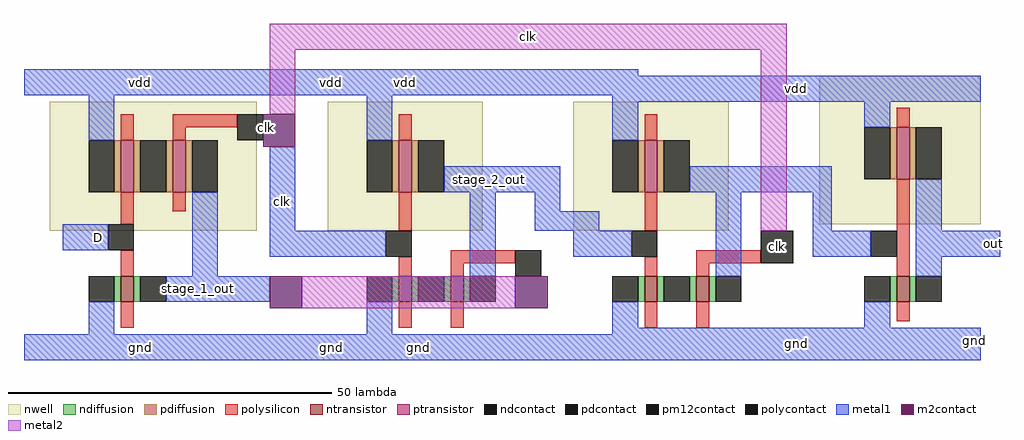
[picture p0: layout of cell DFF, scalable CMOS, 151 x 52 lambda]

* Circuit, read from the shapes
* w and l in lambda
.subckt DFF D clk gnd out stage_1_out stage_2_out vdd
M1 stage_1_out D gnd VSUBS nfet w=4 l=2
M2 n1 clk gnd VSUBS nfet w=4 l=2
M3 stage_2_out stage_1_out n1 VSUBS nfet w=4 l=2
M4 n2 stage_2_out gnd VSUBS nfet w=4 l=2
M5 n3 clk n2 VSUBS nfet w=4 l=2
M6 out n3 gnd VSUBS nfet w=4 l=2
M7 n4 D vdd n5 pfet w=8 l=2
M8 stage_1_out clk n4 n5 pfet w=8 l=2
M9 stage_2_out clk vdd n6 pfet w=8 l=2
M10 n3 stage_2_out vdd n7 pfet w=8 l=2
M11 out n3 vdd n8 pfet w=8 l=2
.ends

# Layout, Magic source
magic
tech scmos
<< nwell >>
rect 37 20 69 40
rect 80 20 104 40
rect 118 20 142 40
rect 156 21 181 44
<< ntransistor >>
rect 48 9 50 13
rect 91 9 93 13
rect 99 9 101 13
rect 129 9 131 13
rect 137 9 139 13
rect 168 9 170 13
<< ptransistor >>
rect 48 26 50 34
rect 56 26 58 34
rect 91 26 93 34
rect 129 26 131 34
rect 168 28 170 36
<< ndiffusion >>
rect 47 9 48 13
rect 50 9 51 13
rect 90 9 91 13
rect 93 9 94 13
rect 98 9 99 13
rect 101 9 102 13
rect 128 9 129 13
rect 131 9 132 13
rect 136 9 137 13
rect 139 9 140 13
rect 167 9 168 13
rect 170 9 171 13
<< pdiffusion >>
rect 47 26 48 34
rect 50 26 51 34
rect 55 26 56 34
rect 58 26 59 34
rect 90 26 91 34
rect 93 26 94 34
rect 128 26 129 34
rect 131 26 132 34
rect 167 28 168 36
rect 170 28 171 36
<< ndcontact >>
rect 43 9 47 13
rect 51 9 55 13
rect 86 9 90 13
rect 94 9 98 13
rect 102 9 106 13
rect 124 9 128 13
rect 132 9 136 13
rect 140 9 144 13
rect 163 9 167 13
rect 171 9 175 13
<< pdcontact >>
rect 43 26 47 34
rect 51 26 55 34
rect 59 26 63 34
rect 86 26 90 34
rect 94 26 98 34
rect 124 26 128 34
rect 132 26 136 34
rect 163 28 167 36
rect 171 28 175 36
<< polysilicon >>
rect 48 34 50 38
rect 56 36 66 38
rect 56 34 58 36
rect 91 34 93 38
rect 129 34 131 38
rect 168 36 170 39
rect 48 21 50 26
rect 56 23 58 26
rect 91 20 93 26
rect 129 20 131 26
rect 48 13 50 17
rect 91 13 93 16
rect 99 15 109 17
rect 99 13 101 15
rect 129 13 131 16
rect 137 15 147 17
rect 137 13 139 15
rect 168 13 170 28
rect 48 5 50 9
rect 91 5 93 9
rect 99 5 101 9
rect 129 5 131 9
rect 137 5 139 9
rect 168 6 170 9
<< polycontact >>
rect 66 34 70 38
rect 46 17 50 21
rect 89 16 93 20
rect 109 13 113 17
rect 127 16 131 20
rect 164 16 168 20
<< metal1 >>
rect 33 44 128 45
rect 33 41 181 44
rect 43 34 47 41
rect 39 17 46 21
rect 59 13 63 26
rect 71 20 75 33
rect 86 34 90 41
rect 124 40 181 41
rect 124 34 128 40
rect 163 36 167 40
rect 98 26 116 30
rect 136 26 158 30
rect 71 16 89 20
rect 102 13 106 26
rect 112 23 116 26
rect 112 20 122 23
rect 55 9 71 13
rect 43 4 47 9
rect 118 16 127 20
rect 140 13 144 26
rect 155 20 158 26
rect 171 20 175 28
rect 155 16 164 20
rect 171 16 184 20
rect 171 13 175 16
rect 86 4 90 9
rect 124 5 128 9
rect 163 5 167 9
rect 124 4 181 5
rect 33 0 181 4
<< m2contact >>
rect 70 33 75 38
rect 71 8 76 13
rect 109 8 114 13
<< pm12contact >>
rect 147 15 152 20
<< metal2 >>
rect 71 48 151 52
rect 71 38 75 48
rect 147 20 151 48
rect 76 8 109 13
<< labels >>
rlabel metal1 55 9 65 13 1 stage_1_out
rlabel metal1 33 0 69 4 1 gnd
rlabel metal1 33 41 69 45 5 vdd
rlabel metal1 39 17 50 21 1 D
rlabel metal1 66 34 75 38 7 clk
rlabel metal1 76 0 112 4 1 gnd
rlabel metal1 76 41 108 45 5 vdd
rlabel metal1 71 16 75 33 1 clk
rlabel metal1 98 26 112 30 1 stage_2_out
rlabel pm12contact 147 15 152 20 7 clk
rlabel metal1 33 0 128 4 1 gnd
rlabel metal1 33 41 128 45 1 vdd
rlabel metal1 183 18 183 18 7 out
rlabel metal1 180 3 180 3 8 gnd
rlabel metal1 124 40 181 44 1 vdd
rlabel metal1 124 0 181 5 1 gnd
rlabel metal2 71 48 151 52 5 clk
<< end >>
